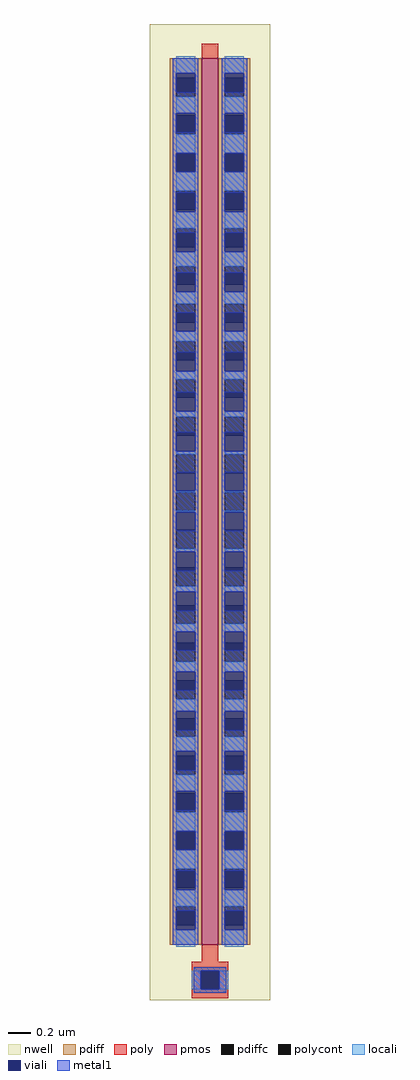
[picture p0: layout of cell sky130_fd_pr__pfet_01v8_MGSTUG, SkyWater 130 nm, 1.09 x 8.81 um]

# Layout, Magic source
magic
tech sky130A
magscale 1 2
<< nwell >>
rect -109 -864 109 898
<< pmos >>
rect -15 -764 15 836
<< pdiff >>
rect -73 801 -15 836
rect -73 767 -61 801
rect -27 767 -15 801
rect -73 733 -15 767
rect -73 699 -61 733
rect -27 699 -15 733
rect -73 665 -15 699
rect -73 631 -61 665
rect -27 631 -15 665
rect -73 597 -15 631
rect -73 563 -61 597
rect -27 563 -15 597
rect -73 529 -15 563
rect -73 495 -61 529
rect -27 495 -15 529
rect -73 461 -15 495
rect -73 427 -61 461
rect -27 427 -15 461
rect -73 393 -15 427
rect -73 359 -61 393
rect -27 359 -15 393
rect -73 325 -15 359
rect -73 291 -61 325
rect -27 291 -15 325
rect -73 257 -15 291
rect -73 223 -61 257
rect -27 223 -15 257
rect -73 189 -15 223
rect -73 155 -61 189
rect -27 155 -15 189
rect -73 121 -15 155
rect -73 87 -61 121
rect -27 87 -15 121
rect -73 53 -15 87
rect -73 19 -61 53
rect -27 19 -15 53
rect -73 -15 -15 19
rect -73 -49 -61 -15
rect -27 -49 -15 -15
rect -73 -83 -15 -49
rect -73 -117 -61 -83
rect -27 -117 -15 -83
rect -73 -151 -15 -117
rect -73 -185 -61 -151
rect -27 -185 -15 -151
rect -73 -219 -15 -185
rect -73 -253 -61 -219
rect -27 -253 -15 -219
rect -73 -287 -15 -253
rect -73 -321 -61 -287
rect -27 -321 -15 -287
rect -73 -355 -15 -321
rect -73 -389 -61 -355
rect -27 -389 -15 -355
rect -73 -423 -15 -389
rect -73 -457 -61 -423
rect -27 -457 -15 -423
rect -73 -491 -15 -457
rect -73 -525 -61 -491
rect -27 -525 -15 -491
rect -73 -559 -15 -525
rect -73 -593 -61 -559
rect -27 -593 -15 -559
rect -73 -627 -15 -593
rect -73 -661 -61 -627
rect -27 -661 -15 -627
rect -73 -695 -15 -661
rect -73 -729 -61 -695
rect -27 -729 -15 -695
rect -73 -764 -15 -729
rect 15 801 73 836
rect 15 767 27 801
rect 61 767 73 801
rect 15 733 73 767
rect 15 699 27 733
rect 61 699 73 733
rect 15 665 73 699
rect 15 631 27 665
rect 61 631 73 665
rect 15 597 73 631
rect 15 563 27 597
rect 61 563 73 597
rect 15 529 73 563
rect 15 495 27 529
rect 61 495 73 529
rect 15 461 73 495
rect 15 427 27 461
rect 61 427 73 461
rect 15 393 73 427
rect 15 359 27 393
rect 61 359 73 393
rect 15 325 73 359
rect 15 291 27 325
rect 61 291 73 325
rect 15 257 73 291
rect 15 223 27 257
rect 61 223 73 257
rect 15 189 73 223
rect 15 155 27 189
rect 61 155 73 189
rect 15 121 73 155
rect 15 87 27 121
rect 61 87 73 121
rect 15 53 73 87
rect 15 19 27 53
rect 61 19 73 53
rect 15 -15 73 19
rect 15 -49 27 -15
rect 61 -49 73 -15
rect 15 -83 73 -49
rect 15 -117 27 -83
rect 61 -117 73 -83
rect 15 -151 73 -117
rect 15 -185 27 -151
rect 61 -185 73 -151
rect 15 -219 73 -185
rect 15 -253 27 -219
rect 61 -253 73 -219
rect 15 -287 73 -253
rect 15 -321 27 -287
rect 61 -321 73 -287
rect 15 -355 73 -321
rect 15 -389 27 -355
rect 61 -389 73 -355
rect 15 -423 73 -389
rect 15 -457 27 -423
rect 61 -457 73 -423
rect 15 -491 73 -457
rect 15 -525 27 -491
rect 61 -525 73 -491
rect 15 -559 73 -525
rect 15 -593 27 -559
rect 61 -593 73 -559
rect 15 -627 73 -593
rect 15 -661 27 -627
rect 61 -661 73 -627
rect 15 -695 73 -661
rect 15 -729 27 -695
rect 61 -729 73 -695
rect 15 -764 73 -729
<< pdiffc >>
rect -61 767 -27 801
rect -61 699 -27 733
rect -61 631 -27 665
rect -61 563 -27 597
rect -61 495 -27 529
rect -61 427 -27 461
rect -61 359 -27 393
rect -61 291 -27 325
rect -61 223 -27 257
rect -61 155 -27 189
rect -61 87 -27 121
rect -61 19 -27 53
rect -61 -49 -27 -15
rect -61 -117 -27 -83
rect -61 -185 -27 -151
rect -61 -253 -27 -219
rect -61 -321 -27 -287
rect -61 -389 -27 -355
rect -61 -457 -27 -423
rect -61 -525 -27 -491
rect -61 -593 -27 -559
rect -61 -661 -27 -627
rect -61 -729 -27 -695
rect 27 767 61 801
rect 27 699 61 733
rect 27 631 61 665
rect 27 563 61 597
rect 27 495 61 529
rect 27 427 61 461
rect 27 359 61 393
rect 27 291 61 325
rect 27 223 61 257
rect 27 155 61 189
rect 27 87 61 121
rect 27 19 61 53
rect 27 -49 61 -15
rect 27 -117 61 -83
rect 27 -185 61 -151
rect 27 -253 61 -219
rect 27 -321 61 -287
rect 27 -389 61 -355
rect 27 -457 61 -423
rect 27 -525 61 -491
rect 27 -593 61 -559
rect 27 -661 61 -627
rect 27 -729 61 -695
<< poly >>
rect -15 836 15 862
rect -15 -795 15 -764
rect -33 -811 33 -795
rect -33 -845 -17 -811
rect 17 -845 33 -811
rect -33 -861 33 -845
<< polycont >>
rect -17 -845 17 -811
<< locali >>
rect -61 809 -27 840
rect -61 737 -27 767
rect -61 665 -27 699
rect -61 597 -27 631
rect -61 529 -27 559
rect -61 461 -27 487
rect -61 393 -27 415
rect -61 325 -27 343
rect -61 257 -27 271
rect -61 189 -27 199
rect -61 121 -27 127
rect -61 53 -27 55
rect -61 17 -27 19
rect -61 -55 -27 -49
rect -61 -127 -27 -117
rect -61 -199 -27 -185
rect -61 -271 -27 -253
rect -61 -343 -27 -321
rect -61 -415 -27 -389
rect -61 -487 -27 -457
rect -61 -559 -27 -525
rect -61 -627 -27 -593
rect -61 -695 -27 -665
rect -61 -768 -27 -737
rect 27 809 61 840
rect 27 737 61 767
rect 27 665 61 699
rect 27 597 61 631
rect 27 529 61 559
rect 27 461 61 487
rect 27 393 61 415
rect 27 325 61 343
rect 27 257 61 271
rect 27 189 61 199
rect 27 121 61 127
rect 27 53 61 55
rect 27 17 61 19
rect 27 -55 61 -49
rect 27 -127 61 -117
rect 27 -199 61 -185
rect 27 -271 61 -253
rect 27 -343 61 -321
rect 27 -415 61 -389
rect 27 -487 61 -457
rect 27 -559 61 -525
rect 27 -627 61 -593
rect 27 -695 61 -665
rect 27 -768 61 -737
rect -33 -845 -17 -811
rect 17 -845 33 -811
<< viali >>
rect -61 801 -27 809
rect -61 775 -27 801
rect -61 733 -27 737
rect -61 703 -27 733
rect -61 631 -27 665
rect -61 563 -27 593
rect -61 559 -27 563
rect -61 495 -27 521
rect -61 487 -27 495
rect -61 427 -27 449
rect -61 415 -27 427
rect -61 359 -27 377
rect -61 343 -27 359
rect -61 291 -27 305
rect -61 271 -27 291
rect -61 223 -27 233
rect -61 199 -27 223
rect -61 155 -27 161
rect -61 127 -27 155
rect -61 87 -27 89
rect -61 55 -27 87
rect -61 -15 -27 17
rect -61 -17 -27 -15
rect -61 -83 -27 -55
rect -61 -89 -27 -83
rect -61 -151 -27 -127
rect -61 -161 -27 -151
rect -61 -219 -27 -199
rect -61 -233 -27 -219
rect -61 -287 -27 -271
rect -61 -305 -27 -287
rect -61 -355 -27 -343
rect -61 -377 -27 -355
rect -61 -423 -27 -415
rect -61 -449 -27 -423
rect -61 -491 -27 -487
rect -61 -521 -27 -491
rect -61 -593 -27 -559
rect -61 -661 -27 -631
rect -61 -665 -27 -661
rect -61 -729 -27 -703
rect -61 -737 -27 -729
rect 27 801 61 809
rect 27 775 61 801
rect 27 733 61 737
rect 27 703 61 733
rect 27 631 61 665
rect 27 563 61 593
rect 27 559 61 563
rect 27 495 61 521
rect 27 487 61 495
rect 27 427 61 449
rect 27 415 61 427
rect 27 359 61 377
rect 27 343 61 359
rect 27 291 61 305
rect 27 271 61 291
rect 27 223 61 233
rect 27 199 61 223
rect 27 155 61 161
rect 27 127 61 155
rect 27 87 61 89
rect 27 55 61 87
rect 27 -15 61 17
rect 27 -17 61 -15
rect 27 -83 61 -55
rect 27 -89 61 -83
rect 27 -151 61 -127
rect 27 -161 61 -151
rect 27 -219 61 -199
rect 27 -233 61 -219
rect 27 -287 61 -271
rect 27 -305 61 -287
rect 27 -355 61 -343
rect 27 -377 61 -355
rect 27 -423 61 -415
rect 27 -449 61 -423
rect 27 -491 61 -487
rect 27 -521 61 -491
rect 27 -593 61 -559
rect 27 -661 61 -631
rect 27 -665 61 -661
rect 27 -729 61 -703
rect 27 -737 61 -729
rect -17 -845 17 -811
<< metal1 >>
rect -67 809 -21 836
rect -67 775 -61 809
rect -27 775 -21 809
rect -67 737 -21 775
rect -67 703 -61 737
rect -27 703 -21 737
rect -67 665 -21 703
rect -67 631 -61 665
rect -27 631 -21 665
rect -67 593 -21 631
rect -67 559 -61 593
rect -27 559 -21 593
rect -67 521 -21 559
rect -67 487 -61 521
rect -27 487 -21 521
rect -67 449 -21 487
rect -67 415 -61 449
rect -27 415 -21 449
rect -67 377 -21 415
rect -67 343 -61 377
rect -27 343 -21 377
rect -67 305 -21 343
rect -67 271 -61 305
rect -27 271 -21 305
rect -67 233 -21 271
rect -67 199 -61 233
rect -27 199 -21 233
rect -67 161 -21 199
rect -67 127 -61 161
rect -27 127 -21 161
rect -67 89 -21 127
rect -67 55 -61 89
rect -27 55 -21 89
rect -67 17 -21 55
rect -67 -17 -61 17
rect -27 -17 -21 17
rect -67 -55 -21 -17
rect -67 -89 -61 -55
rect -27 -89 -21 -55
rect -67 -127 -21 -89
rect -67 -161 -61 -127
rect -27 -161 -21 -127
rect -67 -199 -21 -161
rect -67 -233 -61 -199
rect -27 -233 -21 -199
rect -67 -271 -21 -233
rect -67 -305 -61 -271
rect -27 -305 -21 -271
rect -67 -343 -21 -305
rect -67 -377 -61 -343
rect -27 -377 -21 -343
rect -67 -415 -21 -377
rect -67 -449 -61 -415
rect -27 -449 -21 -415
rect -67 -487 -21 -449
rect -67 -521 -61 -487
rect -27 -521 -21 -487
rect -67 -559 -21 -521
rect -67 -593 -61 -559
rect -27 -593 -21 -559
rect -67 -631 -21 -593
rect -67 -665 -61 -631
rect -27 -665 -21 -631
rect -67 -703 -21 -665
rect -67 -737 -61 -703
rect -27 -737 -21 -703
rect -67 -764 -21 -737
rect 21 809 67 836
rect 21 775 27 809
rect 61 775 67 809
rect 21 737 67 775
rect 21 703 27 737
rect 61 703 67 737
rect 21 665 67 703
rect 21 631 27 665
rect 61 631 67 665
rect 21 593 67 631
rect 21 559 27 593
rect 61 559 67 593
rect 21 521 67 559
rect 21 487 27 521
rect 61 487 67 521
rect 21 449 67 487
rect 21 415 27 449
rect 61 415 67 449
rect 21 377 67 415
rect 21 343 27 377
rect 61 343 67 377
rect 21 305 67 343
rect 21 271 27 305
rect 61 271 67 305
rect 21 233 67 271
rect 21 199 27 233
rect 61 199 67 233
rect 21 161 67 199
rect 21 127 27 161
rect 61 127 67 161
rect 21 89 67 127
rect 21 55 27 89
rect 61 55 67 89
rect 21 17 67 55
rect 21 -17 27 17
rect 61 -17 67 17
rect 21 -55 67 -17
rect 21 -89 27 -55
rect 61 -89 67 -55
rect 21 -127 67 -89
rect 21 -161 27 -127
rect 61 -161 67 -127
rect 21 -199 67 -161
rect 21 -233 27 -199
rect 61 -233 67 -199
rect 21 -271 67 -233
rect 21 -305 27 -271
rect 61 -305 67 -271
rect 21 -343 67 -305
rect 21 -377 27 -343
rect 61 -377 67 -343
rect 21 -415 67 -377
rect 21 -449 27 -415
rect 61 -449 67 -415
rect 21 -487 67 -449
rect 21 -521 27 -487
rect 61 -521 67 -487
rect 21 -559 67 -521
rect 21 -593 27 -559
rect 61 -593 67 -559
rect 21 -631 67 -593
rect 21 -665 27 -631
rect 61 -665 67 -631
rect 21 -703 67 -665
rect 21 -737 27 -703
rect 61 -737 67 -703
rect 21 -764 67 -737
rect -29 -811 29 -805
rect -29 -845 -17 -811
rect 17 -845 29 -811
rect -29 -851 29 -845
<< end >>
